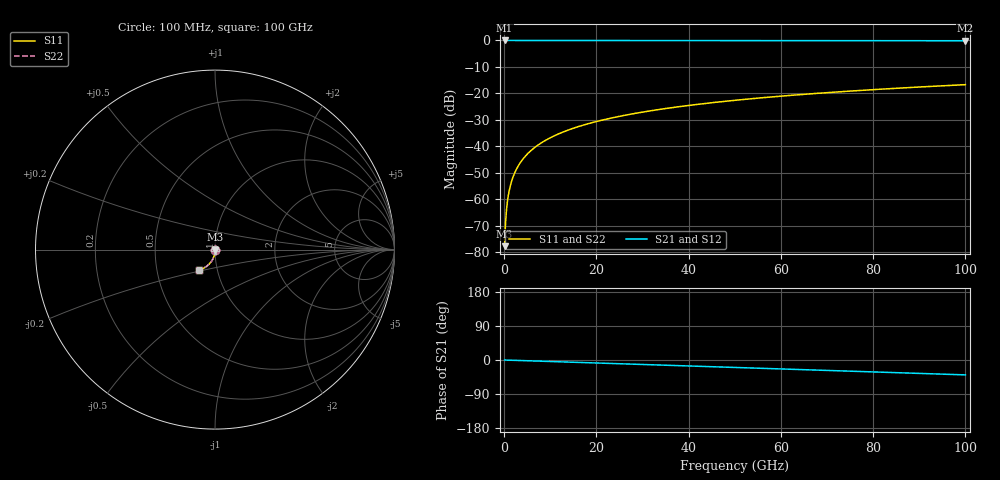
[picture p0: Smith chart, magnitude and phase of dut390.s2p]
! Touchstone file exported from HFSS 2026.1.0
!  File:  C:/ffzhzh/LocalFiles/Ansys_Project_Files/temp_train_TSV_390_1783510665_41296.aedt
!  Generated:  07:38:53 PM Jul  8, 2026
!  Design:  TSV
!  Project:  temp_train_TSV_390_1783510665_41296
! Variables:
!  h_bsmrdl = 2um
!  h_ox = 20um
!  h_rdl = 5um
!  h_sub = 77.63um
!  h_tmrdl = 5um
!  h_tsv = 77.63um
!  h_via = 3um
!  l_bsmrdl = 300um
!  l_sub = 428.54um
!  l_tmrdl = 200um
!  m_sub = 200um
!  pitch = 46.66um
!  r_tsv = 14.27um
!  s_tmrdl = 10um
!  w_bsmrdl = 18um
!  w_sub = 500um
!  w_tmrdl = 12um
!  x_tsv_center1 = 206um
!  x_tsv_center2 = 524um
!  x_tsv_center3 = 736um
!  x_tsv_center4 = 1054um
!  x_tsv_center5 = 1266um
!  x_tsv_center6 = 1584um
# GHz S MA R 50.000000
! Terminal data exported
! Port[1] = TSV1_1_T1
! Port[2] = TSV1_1_T2
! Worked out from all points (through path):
!   1000 points, 100 MHz to 100 GHz, reference 50 ohm
!   highest |S21| = 0.00 dB at 100 MHz (marker M1); lowest = -0.1 dB at 100 GHz (marker M2)
!   group delay of S21, straight-line fit = 1.09 ps
!   lowest |S11| = -77.7 dB at 100 MHz (marker M3), VSWR 1.00, Z = 50 - j0.0106 ohm
!   |S11| at or under -10 dB: start of sweep to end of sweep
!   |S22| runs from -77.7 to -16.7 dB; largest |S21 - S12| = 3.6e-15
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0.1  0.0001305 -54.0  0.9999 -0.0  0.9999 -0.0  0.0001305 -54.0
! Gamma 0 0 0 0
! Port Impedance 50 0 50 0
0.4  0.0004823 -73.8  0.9999 -0.2  0.9999 -0.2  0.0004823 -73.8
0.7  0.0008931 -77.9  0.9998 -0.3  0.9998 -0.3  0.0008931 -77.9
0.8  0.001034 -78.8  0.9998 -0.3  0.9998 -0.3  0.001034 -78.8
1  0.001317 -80.3  0.9998 -0.4  0.9998 -0.4  0.001317 -80.3
1.3  0.001744 -81.9  0.9997 -0.5  0.9997 -0.5  0.001744 -81.9
1.7  0.002315 -83.4  0.9997 -0.7  0.9997 -0.7  0.002315 -83.4
2.3  0.003177 -84.7  0.9997 -0.9  0.9997 -0.9  0.003177 -84.7
2.9  0.004046 -85.7  0.9996 -1.2  0.9996 -1.2  0.004046 -85.7
3.7  0.005214 -86.7  0.9995 -1.5  0.9995 -1.5  0.005214 -86.7
4.7  0.006684 -87.6  0.9995 -1.9  0.9995 -1.9  0.006684 -87.6
5.8  0.008307 -88.5  0.9994 -2.3  0.9994 -2.3  0.008307 -88.5
8.6  0.01245 -90.3  0.9993 -3.4  0.9993 -3.4  0.01245 -90.3
12.2  0.01781 -92.2  0.999 -4.8  0.999 -4.8  0.01781 -92.2
16.8  0.02468 -94.4  0.9987 -6.6  0.9987 -6.6  0.02468 -94.4
24.2  0.03573 -97.7  0.9982 -9.5  0.9982 -9.5  0.03573 -97.7
33.4  0.04946 -101.6  0.9974 -13.1  0.9974 -13.1  0.04946 -101.6
41.2  0.06106 -104.8  0.9966 -16.2  0.9966 -16.2  0.06106 -104.8
50.1  0.07425 -108.4  0.9955 -19.7  0.9955 -19.7  0.07425 -108.5
66.7  0.0986 -115.1  0.9931 -26.2  0.9931 -26.2  0.0986 -115.2
83.4  0.1227 -121.9  0.9901 -32.8  0.9901 -32.8  0.1227 -121.9
100  0.1463 -128.5  0.9864 -39.3  0.9864 -39.3  0.1463 -128.6
